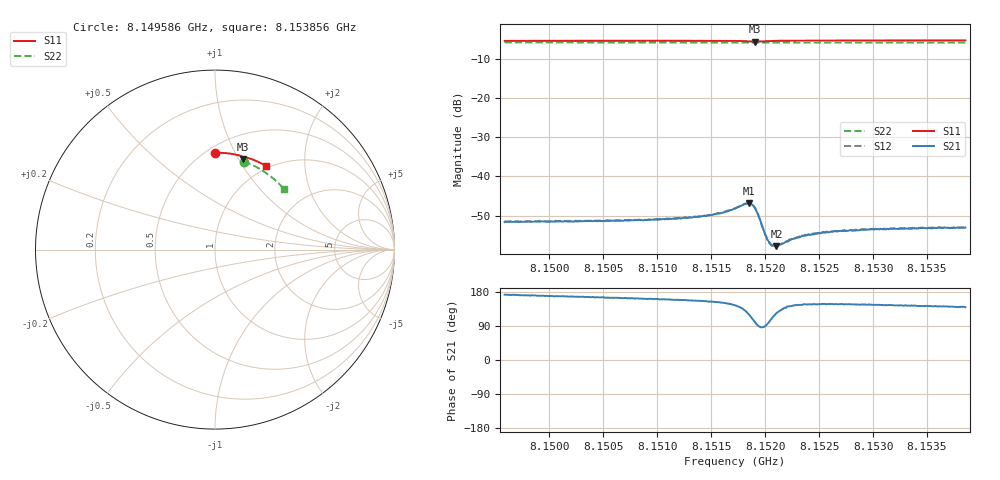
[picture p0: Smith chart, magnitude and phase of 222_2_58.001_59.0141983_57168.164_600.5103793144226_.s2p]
#  HZ  S  RI  R  50.00
! Rohde & Schwarz Vector Network Analyzer
! Rohde-Schwarz,ZNB20-2Port,1311601062101988,3.16
! Created: UTC 3/21/2024, 1:00:12 AM
! freq[Hz]  re:S11  im:S11  re:S21  im:S21  re:S12  im:S12  re:S22  im:S22
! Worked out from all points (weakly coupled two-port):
!   401 points, 8.149586 GHz to 8.153856 GHz, reference 50 ohm
!   highest |S21| = -46.85 dB at 8.151849 GHz (marker M1); lowest = -57.8 dB at 8.152105 GHz (marker M2)
!   lowest |S11| = -5.6 dB at 8.151903 GHz (marker M3), VSWR 3.23, Z = 37.3 + j52.1 ohm
!   |S11| at or under -10 dB: nowhere
!   |S22| runs from -5.8 to -5.7 dB; largest |S21 - S12| = 0.00012
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8.1495859e9  0.00132 0.5393  -0.00259 0.000354  -0.00263 0.000399  0.1602 0.4904
8.1503012e9  0.0516 0.5381  -0.00261 0.000616  -0.00264 0.00067  0.2034 0.4732
8.1510165e9  0.1015 0.5321  -0.00264 0.000939  -0.00268 0.00102  0.2444 0.4524
8.151294e9  0.121 0.5282  -0.00275 0.00114  -0.00274 0.00119  0.26 0.4433
8.1514862e9  0.135 0.5247  -0.00286 0.00141  -0.00289 0.00142  0.2703 0.4367
8.1516036e9  0.1439 0.5218  -0.00301 0.00164  -0.00305 0.0017  0.2768 0.4326
8.1517211e9  0.1531 0.5174  -0.00316 0.00229  -0.00312 0.00234  0.283 0.4281
8.1518065e9  0.1588 0.5109  -0.00295 0.00328  -0.00296 0.00333  0.2874 0.4248
8.1518492e9  0.1593 0.5065  -0.0023 0.00392  -0.00227 0.00398  0.2894 0.4232
8.1518812e9  0.1574 0.5042  -0.0014 0.00412  -0.00133 0.00414  0.291 0.422
8.1519026e9  0.1554 0.504  -0.000767 0.00394  -0.000695 0.00398  0.2919 0.4214
8.1519346e9  0.1536 0.5061  -5.83e-05 0.00326  -3.75e-05 0.00329  0.2935 0.4202
8.1519986e9  0.1562 0.5114  2.73e-05 0.00182  1.56e-05 0.00187  0.2969 0.4181
8.1520307e9  0.1591 0.5129  -0.000207 0.00149  -0.00018 0.00145  0.2986 0.4168
8.1520627e9  0.1621 0.5137  -0.000445 0.00125  -0.000442 0.00122  0.3004 0.4157
8.152084e9  0.1641 0.5138  -0.00059 0.00116  -0.00059 0.00117  0.3014 0.4149
8.1521054e9  0.1661 0.5138  -0.00072 0.00107  -0.000738 0.0011  0.3025 0.4141
8.1522655e9  0.1792 0.5119  -0.00131 0.000939  -0.00129 0.000956  0.3106 0.4076
8.1524364e9  0.1917 0.5082  -0.00151 0.000996  -0.00154 0.00102  0.3193 0.4008
8.1527033e9  0.2099 0.5018  -0.0017 0.00109  -0.00166 0.00111  0.3323 0.3897
8.1531516e9  0.2391 0.4895  -0.00175 0.00122  -0.00173 0.00125  0.3531 0.3702
8.1538562e9  0.2826 0.4669  -0.00169 0.00145  -0.00167 0.00145  0.3834 0.3371
